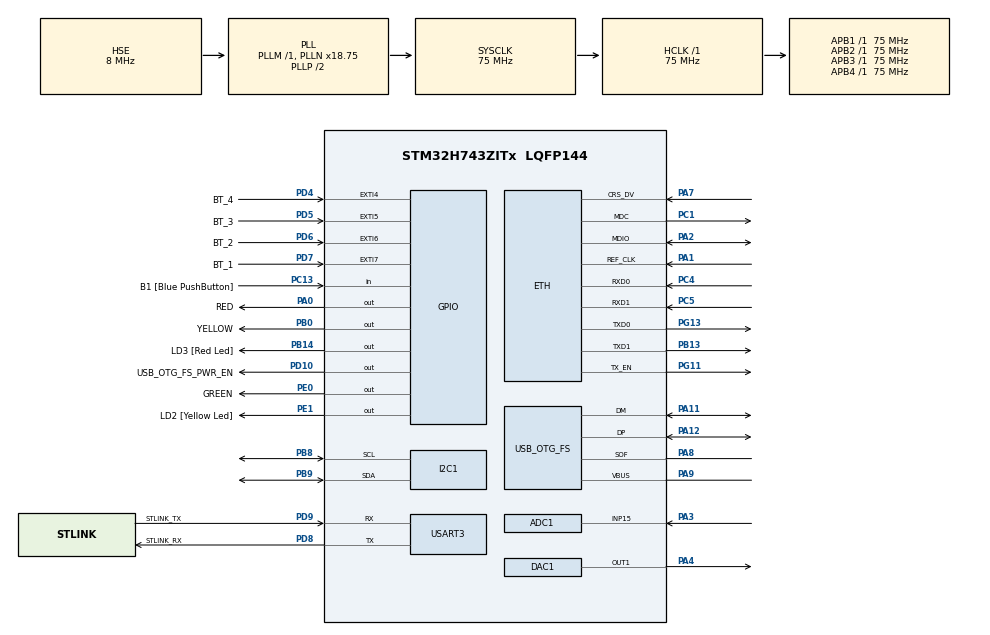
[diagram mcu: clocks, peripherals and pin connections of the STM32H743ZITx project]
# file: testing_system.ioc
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ADC1.Channel-0\#ChannelRegularConversion=ADC_CHANNEL_15
ADC1.ConversionDataManagement=ADC_CONVERSIONDATA_DMA_ONESHOT
ADC1.ExternalTrigConv=ADC_EXTERNALTRIG_T1_TRGO
ADC1.NbrOfConversionFlag=1
ADC1.OffsetNumber-0\#ChannelRegularConversion=ADC_OFFSET_NONE
ADC1.OffsetSignedSaturation-0\#ChannelRegularConversion=DISABLE
ADC1.Rank-0\#ChannelRegularConversion=1
ADC1.Resolution=ADC_RESOLUTION_12B
ADC1.SamplingTime-0\#ChannelRegularConversion=ADC_SAMPLETIME_1CYCLE_5
ADC1.master=1
DAC1.DAC_Channel-DAC_OUT1=DAC_CHANNEL_1
DAC1.DAC_Trigger-DAC_OUT1=DAC_TRIGGER_T1_TRGO
Dma.ADC1.0.Direction=DMA_PERIPH_TO_MEMORY
Dma.ADC1.0.EventEnable=DISABLE
Dma.ADC1.0.FIFOMode=DMA_FIFOMODE_DISABLE
Dma.ADC1.0.Instance=DMA1_Stream0
Dma.ADC1.0.MemDataAlignment=DMA_MDATAALIGN_HALFWORD
Dma.ADC1.0.MemInc=DMA_MINC_ENABLE
Dma.ADC1.0.Mode=DMA_NORMAL
Dma.ADC1.0.PeriphDataAlignment=DMA_PDATAALIGN_HALFWORD
Dma.ADC1.0.PeriphInc=DMA_PINC_DISABLE
Dma.ADC1.0.Polarity=HAL_DMAMUX_REQ_GEN_RISING
Dma.ADC1.0.Priority=DMA_PRIORITY_LOW
Dma.ADC1.0.RequestNumber=1
Dma.ADC1.0.SignalID=NONE
Dma.ADC1.0.SyncEnable=DISABLE
Dma.ADC1.0.SyncPolarity=HAL_DMAMUX_SYNC_NO_EVENT
Dma.ADC1.0.SyncRequestNumber=1
Dma.ADC1.0.SyncSignalID=NONE
Dma.DAC1_CH1.1.Direction=DMA_MEMORY_TO_PERIPH
Dma.DAC1_CH1.1.EventEnable=DISABLE
Dma.DAC1_CH1.1.FIFOMode=DMA_FIFOMODE_DISABLE
Dma.DAC1_CH1.1.Instance=DMA1_Stream1
Dma.DAC1_CH1.1.MemDataAlignment=DMA_MDATAALIGN_HALFWORD
Dma.DAC1_CH1.1.MemInc=DMA_MINC_ENABLE
Dma.DAC1_CH1.1.Mode=DMA_NORMAL
Dma.DAC1_CH1.1.PeriphDataAlignment=DMA_PDATAALIGN_HALFWORD
Dma.DAC1_CH1.1.PeriphInc=DMA_PINC_DISABLE
Dma.DAC1_CH1.1.Polarity=HAL_DMAMUX_REQ_GEN_RISING
Dma.DAC1_CH1.1.Priority=DMA_PRIORITY_LOW
Dma.DAC1_CH1.1.RequestNumber=1
Dma.DAC1_CH1.1.SignalID=NONE
Dma.DAC1_CH1.1.SyncEnable=DISABLE
Dma.DAC1_CH1.1.SyncPolarity=HAL_DMAMUX_SYNC_NO_EVENT
Dma.DAC1_CH1.1.SyncRequestNumber=1
Dma.DAC1_CH1.1.SyncSignalID=NONE
Dma.Request0=ADC1
Dma.Request1=DAC1_CH1
ETH.MediaInterface=HAL_ETH_RMII_MODE
I2C1.Timing=0x109093DC
Mcu.Family=STM32H7
Mcu.Name=STM32H743ZITx
Mcu.Package=LQFP144
NVIC.DMA1_Stream0_IRQn=true\:0\:0\:false\:false\:true\:false\:true
NVIC.DMA1_Stream1_IRQn=true\:0\:0\:false\:false\:true\:false\:true
NVIC.EXTI4_IRQn=true\:0\:0\:false\:false\:true\:true\:true
NVIC.EXTI9_5_IRQn=true\:0\:0\:false\:false\:true\:true\:true
NVIC.PriorityGroup=NVIC_PRIORITYGROUP_4
PA0.GPIO_Label=RED
PA0.Signal=GPIO_Output
PA1.Mode=RMII
PA1.Signal=ETH_REF_CLK
PA11.Mode=Device_Only
PA11.Signal=USB_OTG_FS_DM
PA12.Mode=Device_Only
PA12.Signal=USB_OTG_FS_DP
PA2.Mode=RMII
PA2.Signal=ETH_MDIO
PA3.Signal=ADCx_INP15
PA4.Signal=COMP_DAC11_group
PA7.Mode=RMII
PA7.Signal=ETH_CRS_DV
PA8.Mode=Activate_SOF_FS
PA8.Signal=USB_OTG_FS_SOF
PA9.Mode=Activate_VBUS
PA9.Signal=USB_OTG_FS_VBUS
PB0.GPIO_Label=YELLOW
PB0.Signal=GPIO_Output
PB13.Mode=RMII
PB13.Signal=ETH_TXD1
PB14.GPIO_Label=LD3 [Red Led]
PB14.Signal=GPIO_Output
PB8.Mode=I2C
PB8.Signal=I2C1_SCL
PB9.Mode=I2C
PB9.Signal=I2C1_SDA
PC1.Mode=RMII
PC1.Signal=ETH_MDC
PC13.GPIO_Label=B1 [Blue PushButton]
PC13.Signal=GPIO_Input
PC14-OSC32_IN\ (OSC32_IN).Mode=LSE-External-Oscillator
PC14-OSC32_IN\ (OSC32_IN).Signal=RCC_OSC32_IN
PC15-OSC32_OUT\ (OSC32_OUT).Mode=LSE-External-Oscillator
PC15-OSC32_OUT\ (OSC32_OUT).Signal=RCC_OSC32_OUT
PC4.Mode=RMII
PC4.Signal=ETH_RXD0
PC5.Mode=RMII
PC5.Signal=ETH_RXD1
PD10.GPIO_Label=USB_OTG_FS_PWR_EN
PD10.Signal=GPIO_Output
PD4.GPIO_Label=BT_4
PD4.GPIO_ModeDefaultEXTI=GPIO_MODE_IT_FALLING
PD4.Signal=GPXTI4
PD5.GPIO_Label=BT_3
PD5.GPIO_ModeDefaultEXTI=GPIO_MODE_IT_FALLING
PD5.Signal=GPXTI5
PD6.GPIO_Label=BT_2
PD6.GPIO_ModeDefaultEXTI=GPIO_MODE_IT_FALLING
PD6.Signal=GPXTI6
PD7.GPIO_Label=BT_1
PD7.GPIO_ModeDefaultEXTI=GPIO_MODE_IT_FALLING
PD7.Signal=GPXTI7
PD8.GPIO_Label=STLINK_RX
PD8.Mode=Asynchronous
PD8.Signal=USART3_TX
PD9.GPIO_Label=STLINK_TX
PD9.Mode=Asynchronous
PD9.Signal=USART3_RX
PE0.GPIO_Label=GREEN
PE0.Signal=GPIO_Output
PE1.GPIO_Label=LD2 [Yellow Led]
PE1.Signal=GPIO_Output
PG11.Mode=RMII
PG11.Signal=ETH_TX_EN
PG13.Mode=RMII
PG13.Signal=ETH_TXD0
PH0-OSC_IN\ (PH0).Mode=HSE-External-Clock-Source
PH0-OSC_IN\ (PH0).Signal=RCC_OSC_IN
PH1-OSC_OUT\ (PH1).Signal=RCC_OSC_OUT
ProjectManager.HeapSize=0x200
ProjectManager.StackSize=0x400
ProjectManager.TargetToolchain=STM32CubeIDE
RCC.ADCFreq_Value=37500000
RCC.APB1Freq_Value=75000000
RCC.APB2Freq_Value=75000000
RCC.APB3Freq_Value=75000000
RCC.APB4Freq_Value=75000000
RCC.CortexFreq_Value=75000000
RCC.DIVM1=1
RCC.DIVM2=1
RCC.DIVN1=18
RCC.DIVN2=18
RCC.DIVP2=4
RCC.DIVQ1=3
RCC.HCLKFreq_Value=75000000
RCC.HSE_VALUE=8000000
RCC.PLL2FRACN=6144
RCC.PLLFRACN=6144
RCC.PWR_Regulator_Voltage_Scale=PWR_REGULATOR_VOLTAGE_SCALE2
RCC.SYSCLKFreq_VALUE=75000000
RCC.SYSCLKSource=RCC_SYSCLKSOURCE_PLLCLK
RCC.USART234578CLockSelection=RCC_USART234578CLKSOURCE_HSI
RCC.USBFreq_Value=50000000
SH.ADCx_INP15.0=ADC1_INP15,IN15-Single-Ended
SH.COMP_DAC11_group.0=DAC1_OUT1,DAC_OUT1
TIM1.Period=7500-1
TIM1.TIM_MasterOutputTrigger=TIM_TRGO_UPDATE
USART3.VirtualMode-Asynchronous=VM_ASYNC
USB_OTG_FS.VirtualMode=Device_Only
VP_TIM1_VS_ClockSourceINT.Mode=Internal
board=NUCLEO-H743ZI2

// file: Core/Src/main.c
/* USER CODE BEGIN Header */
/**
  ******************************************************************************
  * @file           : main.c
  * @brief          : Main program body
  ******************************************************************************
  * @attention
  *
  * <h2><center>&copy; Copyright (c) 2021 STMicroelectronics.
  * All rights reserved.</center></h2>
  *
  * This software component is licensed by ST under BSD 3-Clause license,
  * the "License"; You may not use this file except in compliance with the
  * License. You may obtain a copy of the License at:
  *                        opensource.org/licenses/BSD-3-Clause
  *
  ******************************************************************************
  */
/* USER CODE END Header */
#include "main.h"
#include "string.h"

/* USER CODE BEGIN Includes */
#include "ssd1306.h"
#include "fonts.h"
/* USER CODE END Includes */

#if defined ( __ICCARM__ ) /*!< IAR Compiler */

#pragma location=0x30040000
ETH_DMADescTypeDef  DMARxDscrTab[ETH_RX_DESC_CNT]; /* Ethernet Rx DMA Descriptors */
#pragma location=0x30040060
ETH_DMADescTypeDef  DMATxDscrTab[ETH_TX_DESC_CNT]; /* Ethernet Tx DMA Descriptors */
#pragma location=0x30040200
uint8_t Rx_Buff[ETH_RX_DESC_CNT][ETH_MAX_PACKET_SIZE]; /* Ethernet Receive Buffers */

#elif defined ( __CC_ARM )  /* MDK ARM Compiler */

__attribute__((at(0x30040000))) ETH_DMADescTypeDef  DMARxDscrTab[ETH_RX_DESC_CNT]; /* Ethernet Rx DMA Descriptors */
__attribute__((at(0x30040060))) ETH_DMADescTypeDef  DMATxDscrTab[ETH_TX_DESC_CNT]; /* Ethernet Tx DMA Descriptors */
__attribute__((at(0x30040200))) uint8_t Rx_Buff[ETH_RX_DESC_CNT][ETH_MAX_PACKET_SIZE]; /* Ethernet Receive Buffer */

#elif defined ( __GNUC__ ) /* GNU Compiler */

ETH_DMADescTypeDef DMARxDscrTab[ETH_RX_DESC_CNT] __attribute__((section(".RxDecripSection"))); /* Ethernet Rx DMA Descriptors */
ETH_DMADescTypeDef DMATxDscrTab[ETH_TX_DESC_CNT] __attribute__((section(".TxDecripSection")));   /* Ethernet Tx DMA Descriptors */
uint8_t Rx_Buff[ETH_RX_DESC_CNT][ETH_MAX_PACKET_SIZE] __attribute__((section(".RxArraySection"))); /* Ethernet Receive Buffers */

#endif

ETH_TxPacketConfig TxConfig;
ADC_HandleTypeDef hadc1;
DMA_HandleTypeDef hdma_adc1;

DAC_HandleTypeDef hdac1;
DMA_HandleTypeDef hdma_dac1_ch1;

ETH_HandleTypeDef heth;

I2C_HandleTypeDef hi2c1;

TIM_HandleTypeDef htim1;

UART_HandleTypeDef huart3;

PCD_HandleTypeDef hpcd_USB_OTG_FS;

void SystemClock_Config(void);
static void MX_GPIO_Init(void);
static void MX_ETH_Init(void);
static void MX_USART3_UART_Init(void);
static void MX_DMA_Init(void);
static void MX_ADC1_Init(void);
static void MX_DAC1_Init(void);
static void MX_USB_OTG_FS_PCD_Init(void);
static void MX_TIM1_Init(void);
static void MX_I2C1_Init(void);

/* USER CODE BEGIN 0 */
#include <math.h>
#include <arm_math.h>
//#include <fft.h>
#include "const.h"
#include <stdio.h>
#include <chroma.h>
#include "knn.h"
#include <stdlib.h>
int16_t ADC_buff[ADC_BUF_SIZE];
//float32_t ADC_buff_complex[ADC_BUF_SIZE * 2];
//float32_t ADC_buff_mag[ADC_BUF_SIZE];
uint8_t record_done = 0;
//uint8_t play_done = 0;
uint8_t buttonState = 0;
//int16_t mag_print;
char *noteRecord;
int noteInd;

void preprocess(int16_t in_array[], float out_array[]) {
	float average = 0;
	for(int i = 0; i < ADC_BUF_SIZE; i++) {
		float val = (float) in_array[i];
		out_array[i] = val;
		average += val;
	}
	average /= ADC_BUF_SIZE;
	for(int i = 0; i < ADC_BUF_SIZE; i++) {
		out_array[i] -= average;
	}
}

float get_average_energy(float in_array[]) {
	float energy = 0;
	for(int i = 0; i < ADC_BUF_SIZE; i++) {
		energy += pow(in_array[i], 2.0);
	}
	energy /= ADC_BUF_SIZE;
	return energy;
}

float get_past_energy(float in_array[]) {
	float energy = 0;
	for(int i = 0; i < 2; i++) {
		energy += in_array[i];
	}
	energy /= 2;
	return energy;
}
/* USER CODE END 0 */

int main(void)
{

  /* MCU Configuration--------------------------------------------------------*/

  /* Reset of all peripherals, Initializes the Flash interface and the Systick. */
  HAL_Init();

  /* Configure the system clock */
  SystemClock_Config();

  /* Initialize all configured peripherals */
  MX_GPIO_Init();
  MX_ETH_Init();
  MX_USART3_UART_Init();
  MX_DMA_Init();
  MX_ADC1_Init();
  MX_DAC1_Init();
  MX_USB_OTG_FS_PCD_Init();
  MX_TIM1_Init();
  MX_I2C1_Init();
  /* USER CODE BEGIN 2 */
  if (HAL_ADCEx_Calibration_Start(&hadc1, ADC_CALIB_OFFSET, ADC_SINGLE_ENDED) != HAL_OK) {
	  Error_Handler();
  }
  HAL_TIM_Base_Start(&htim1);
  //Allocate Array to Store trained Data
  const int trainDataSize = TRAINDATASIZE;
  ClassifiedPoint *trainData = malloc(sizeof(ClassifiedPoint) * trainDataSize);
  //Read the Trained Data from CSV- File and Store it into TrainData Array
  readTrainingData(trainDataSize, trainData);

  float processed_array[ADC_BUF_SIZE] = {0};
  float octaves[OCTAVE_SIZE] = {0};
  float chroma[CHROMA_SIZE] = {0};
  float curr_fft[FFT_SIZE] = {0};
  float normalized_octaves[OCTAVE_SIZE] = {0};
  float normalized_chroma[CHROMA_SIZE] = {0};
  float ml_vector[CHROMA_SIZE + OCTAVE_SIZE] = {0};

  if (ssd1306_Init(&hi2c1) != 0) {
   Error_Handler();
  }
  HAL_Delay(1000);

  ssd1306_Fill(Black);
  ssd1306_UpdateScreen(&hi2c1);

  float energyBuff[2] = {0};

  for(int i = 0; i < 2; i++) {
	  if (HAL_ADC_Start_DMA(&hadc1, (uint32_t *) &ADC_buff, ADC_BUF_SIZE) != HAL_OK) {
		Error_Handler();
	  }
	  while(1) {
		if(record_done == 1) {
			record_done = 0;
			break;
		}
	  }

	  preprocess(ADC_buff, processed_array);
	  float average_energy = get_average_energy(processed_array);
	  energyBuff[i] = average_energy;
  }

  float energyThresh = get_past_energy(energyBuff);

  int energyReadingCount = 0;

  HAL_Delay(1000);
  /* USER CODE END 2 */

  /* Infinite loop */
  while (1)
  {

    /* USER CODE BEGIN 3 */
	if (buttonState == 1) {
		memset(processed_array, 0, sizeof(processed_array));
		memset(octaves, 0, sizeof(octaves));
		memset(chroma, 0, sizeof(chroma));
		memset(curr_fft, 0, sizeof(curr_fft));
		memset(normalized_octaves, 0, sizeof(normalized_octaves));
		memset(normalized_chroma, 0, sizeof(normalized_chroma));
		memset(ml_vector, 0, sizeof(ml_vector));

		if (HAL_ADC_Start_DMA(&hadc1, (uint32_t *) &ADC_buff, ADC_BUF_SIZE) != HAL_OK) {
		  Error_Handler();
		}
		while(1) {
		  if(record_done == 1) {
			  record_done = 0;
			  break;
		  }
		}

		preprocess(ADC_buff, processed_array);
		float average_energy = get_average_energy(processed_array);

		if (average_energy < ENERGY_THRESH) {
			energyBuff[energyReadingCount] = average_energy;
			if(energyReadingCount == 1) {
				energyReadingCount = 0;
			}
			else {
				energyReadingCount++;
			}
		}

		energyThresh = get_past_energy(energyBuff);

		if (average_energy < energyThresh - 1000) {
			ssd1306_Fill(Black);
			ssd1306_UpdateScreen(&hi2c1);
			if (noteInd % 100 == 0) {
				noteRecord = (char *) realloc(noteRecord, (noteInd + 100) * 6 * sizeof(char));
			}
			strcat(noteRecord, "     ");
			noteInd++;
			continue;
		}

		//get_chroma(processed_array, chroma, octaves);

		for(int i = 0; i < 5; i += HOP_LENGTH) {
			memcpy(curr_fft, processed_array + i, FFT_SIZE * sizeof(float));
			get_chroma(curr_fft, chroma, octaves);
		}

		normalize_chroma(chroma, octaves, normalized_chroma, normalized_octaves);

		memcpy(ml_vector, normalized_chroma, CHROMA_SIZE * sizeof(float));
		memcpy(ml_vector + CHROMA_SIZE, normalized_octaves, OCTAVE_SIZE * sizeof(float));

		char *pitchClassification = getTestClass(ml_vector, trainData);//, 1);
		if (noteInd % 100 == 0) {
			noteRecord = (char *) realloc(noteRecord, (noteInd + 100) * 6 * sizeof(char));
		}
		strcat(noteRecord, pitchClassification);
		noteInd++;

		ssd1306_SetCursor(0, 32);
		ssd1306_WriteString(pitchClassification, Font_11x18, White);

		// Copy all data from local screenbuffer to the screen
		ssd1306_UpdateScreen(&hi2c1);
		//HAL_Delay(1);
	}
  }
  /* USER CODE END 3 */
}

void SystemClock_Config(void)
{
  RCC_OscInitTypeDef RCC_OscInitStruct = {0};
  RCC_ClkInitTypeDef RCC_ClkInitStruct = {0};

  /** Supply configuration update enable
  */
  HAL_PWREx_ConfigSupply(PWR_LDO_SUPPLY);
  /** Configure the main internal regulator output voltage
  */
  __HAL_PWR_VOLTAGESCALING_CONFIG(PWR_REGULATOR_VOLTAGE_SCALE2);

  while(!__HAL_PWR_GET_FLAG(PWR_FLAG_VOSRDY)) {}
  /** Macro to configure the PLL clock source
  */
  __HAL_RCC_PLL_PLLSOURCE_CONFIG(RCC_PLLSOURCE_HSE);
  /** Initializes the RCC Oscillators according to the specified parameters
  * in the RCC_OscInitTypeDef structure.
  */
  RCC_OscInitStruct.OscillatorType = RCC_OSCILLATORTYPE_HSI|RCC_OSCILLATORTYPE_HSE;
  RCC_OscInitStruct.HSEState = RCC_HSE_BYPASS;
  RCC_OscInitStruct.HSIState = RCC_HSI_DIV1;
  RCC_OscInitStruct.HSICalibrationValue = RCC_HSICALIBRATION_DEFAULT;
  RCC_OscInitStruct.PLL.PLLState = RCC_PLL_ON;
  RCC_OscInitStruct.PLL.PLLSource = RCC_PLLSOURCE_HSE;
  RCC_OscInitStruct.PLL.PLLM = 1;
  RCC_OscInitStruct.PLL.PLLN = 18;
  RCC_OscInitStruct.PLL.PLLP = 2;
  RCC_OscInitStruct.PLL.PLLQ = 3;
  RCC_OscInitStruct.PLL.PLLR = 2;
  RCC_OscInitStruct.PLL.PLLRGE = RCC_PLL1VCIRANGE_3;
  RCC_OscInitStruct.PLL.PLLVCOSEL = RCC_PLL1VCOMEDIUM;
  RCC_OscInitStruct.PLL.PLLFRACN = 6144;
  if (HAL_RCC_OscConfig(&RCC_OscInitStruct) != HAL_OK)
  {
    Error_Handler();
  }
  /** Initializes the CPU, AHB and APB buses clocks
  */
  RCC_ClkInitStruct.ClockType = RCC_CLOCKTYPE_HCLK|RCC_CLOCKTYPE_SYSCLK
                              |RCC_CLOCKTYPE_PCLK1|RCC_CLOCKTYPE_PCLK2
                              |RCC_CLOCKTYPE_D3PCLK1|RCC_CLOCKTYPE_D1PCLK1;
  RCC_ClkInitStruct.SYSCLKSource = RCC_SYSCLKSOURCE_PLLCLK;
  RCC_ClkInitStruct.SYSCLKDivider = RCC_SYSCLK_DIV1;
  RCC_ClkInitStruct.AHBCLKDivider = RCC_HCLK_DIV1;
  RCC_ClkInitStruct.APB3CLKDivider = RCC_APB3_DIV1;
  RCC_ClkInitStruct.APB1CLKDivider = RCC_APB1_DIV1;
  RCC_ClkInitStruct.APB2CLKDivider = RCC_APB2_DIV1;
  RCC_ClkInitStruct.APB4CLKDivider = RCC_APB4_DIV1;

  if (HAL_RCC_ClockConfig(&RCC_ClkInitStruct, FLASH_LATENCY_1) != HAL_OK)
  {
    Error_Handler();
  }
}

static void MX_ADC1_Init(void)
{

  ADC_MultiModeTypeDef multimode = {0};
  ADC_ChannelConfTypeDef sConfig = {0};

  /** Common config
  */
  hadc1.Instance = ADC1;
  hadc1.Init.ClockPrescaler = ADC_CLOCK_ASYNC_DIV2;
  hadc1.Init.Resolution = ADC_RESOLUTION_12B;
  hadc1.Init.ScanConvMode = ADC_SCAN_DISABLE;
  hadc1.Init.EOCSelection = ADC_EOC_SINGLE_CONV;
  hadc1.Init.LowPowerAutoWait = DISABLE;
  hadc1.Init.ContinuousConvMode = DISABLE;
  hadc1.Init.NbrOfConversion = 1;
  hadc1.Init.DiscontinuousConvMode = DISABLE;
  hadc1.Init.ExternalTrigConv = ADC_EXTERNALTRIG_T1_TRGO;
  hadc1.Init.ExternalTrigConvEdge = ADC_EXTERNALTRIGCONVEDGE_RISING;
  hadc1.Init.ConversionDataManagement = ADC_CONVERSIONDATA_DMA_ONESHOT;
  hadc1.Init.Overrun = ADC_OVR_DATA_PRESERVED;
  hadc1.Init.LeftBitShift = ADC_LEFTBITSHIFT_NONE;
  hadc1.Init.OversamplingMode = DISABLE;
  if (HAL_ADC_Init(&hadc1) != HAL_OK)
  {
    Error_Handler();
  }
  /** Configure the ADC multi-mode
  */
  multimode.Mode = ADC_MODE_INDEPENDENT;
  if (HAL_ADCEx_MultiModeConfigChannel(&hadc1, &multimode) != HAL_OK)
  {
    Error_Handler();
  }
  /** Configure Regular Channel
  */
  sConfig.Channel = ADC_CHANNEL_15;
  sConfig.Rank = ADC_REGULAR_RANK_1;
  sConfig.SamplingTime = ADC_SAMPLETIME_1CYCLE_5;
  sConfig.SingleDiff = ADC_SINGLE_ENDED;
  sConfig.OffsetNumber = ADC_OFFSET_NONE;
  sConfig.Offset = 0;
  sConfig.OffsetSignedSaturation = DISABLE;
  if (HAL_ADC_ConfigChannel(&hadc1, &sConfig) != HAL_OK)
  {
    Error_Handler();
  }

}

static void MX_DAC1_Init(void)
{

  DAC_ChannelConfTypeDef sConfig = {0};

  /** DAC Initialization
  */
  hdac1.Instance = DAC1;
  if (HAL_DAC_Init(&hdac1) != HAL_OK)
  {
    Error_Handler();
  }
  /** DAC channel OUT1 config
  */
  sConfig.DAC_SampleAndHold = DAC_SAMPLEANDHOLD_DISABLE;
  sConfig.DAC_Trigger = DAC_TRIGGER_T1_TRGO;
  sConfig.DAC_OutputBuffer = DAC_OUTPUTBUFFER_ENABLE;
  sConfig.DAC_ConnectOnChipPeripheral = DAC_CHIPCONNECT_DISABLE;
  sConfig.DAC_UserTrimming = DAC_TRIMMING_FACTORY;
  if (HAL_DAC_ConfigChannel(&hdac1, &sConfig, DAC_CHANNEL_1) != HAL_OK)
  {
    Error_Handler();
  }

}

static void MX_ETH_Init(void)
{

   static uint8_t MACAddr[6];

  heth.Instance = ETH;
  MACAddr[0] = 0x00;
  MACAddr[1] = 0x80;
  MACAddr[2] = 0xE1;
  MACAddr[3] = 0x00;
  MACAddr[4] = 0x00;
  MACAddr[5] = 0x00;
  heth.Init.MACAddr = &MACAddr[0];
  heth.Init.MediaInterface = HAL_ETH_RMII_MODE;
  heth.Init.TxDesc = DMATxDscrTab;
  heth.Init.RxDesc = DMARxDscrTab;
  heth.Init.RxBuffLen = 1524;

  if (HAL_ETH_Init(&heth) != HAL_OK)
  {
    Error_Handler();
  }

  memset(&TxConfig, 0 , sizeof(ETH_TxPacketConfig));
  TxConfig.Attributes = ETH_TX_PACKETS_FEATURES_CSUM | ETH_TX_PACKETS_FEATURES_CRCPAD;
  TxConfig.ChecksumCtrl = ETH_CHECKSUM_IPHDR_PAYLOAD_INSERT_PHDR_CALC;
  TxConfig.CRCPadCtrl = ETH_CRC_PAD_INSERT;

}

static void MX_I2C1_Init(void)
{

  hi2c1.Instance = I2C1;
  hi2c1.Init.Timing = 0x109093DC;
  hi2c1.Init.OwnAddress1 = 0;
  hi2c1.Init.AddressingMode = I2C_ADDRESSINGMODE_7BIT;
  hi2c1.Init.DualAddressMode = I2C_DUALADDRESS_DISABLE;
  hi2c1.Init.OwnAddress2 = 0;
  hi2c1.Init.OwnAddress2Masks = I2C_OA2_NOMASK;
  hi2c1.Init.GeneralCallMode = I2C_GENERALCALL_DISABLE;
  hi2c1.Init.NoStretchMode = I2C_NOSTRETCH_DISABLE;
  if (HAL_I2C_Init(&hi2c1) != HAL_OK)
  {
    Error_Handler();
  }
  /** Configure Analogue filter
  */
  if (HAL_I2CEx_ConfigAnalogFilter(&hi2c1, I2C_ANALOGFILTER_ENABLE) != HAL_OK)
  {
    Error_Handler();
  }
  /** Configure Digital filter
  */
  if (HAL_I2CEx_ConfigDigitalFilter(&hi2c1, 0) != HAL_OK)
  {
    Error_Handler();
  }

}

static void MX_TIM1_Init(void)
{

  TIM_ClockConfigTypeDef sClockSourceConfig = {0};
  TIM_MasterConfigTypeDef sMasterConfig = {0};

  htim1.Instance = TIM1;
  htim1.Init.Prescaler = 0;
  htim1.Init.CounterMode = TIM_COUNTERMODE_UP;
  htim1.Init.Period = 7500-1;
  htim1.Init.ClockDivision = TIM_CLOCKDIVISION_DIV1;
  htim1.Init.RepetitionCounter = 0;
  htim1.Init.AutoReloadPreload = TIM_AUTORELOAD_PRELOAD_DISABLE;
  if (HAL_TIM_Base_Init(&htim1) != HAL_OK)
  {
    Error_Handler();
  }
  sClockSourceConfig.ClockSource = TIM_CLOCKSOURCE_INTERNAL;
  if (HAL_TIM_ConfigClockSource(&htim1, &sClockSourceConfig) != HAL_OK)
  {
    Error_Handler();
  }
  sMasterConfig.MasterOutputTrigger = TIM_TRGO_UPDATE;
  sMasterConfig.MasterOutputTrigger2 = TIM_TRGO2_RESET;
  sMasterConfig.MasterSlaveMode = TIM_MASTERSLAVEMODE_DISABLE;
  if (HAL_TIMEx_MasterConfigSynchronization(&htim1, &sMasterConfig) != HAL_OK)
  {
    Error_Handler();
  }

}

static void MX_USART3_UART_Init(void)
{

  huart3.Instance = USART3;
  huart3.Init.BaudRate = 115200;
  huart3.Init.WordLength = UART_WORDLENGTH_8B;
  huart3.Init.StopBits = UART_STOPBITS_1;
  huart3.Init.Parity = UART_PARITY_NONE;
  huart3.Init.Mode = UART_MODE_TX_RX;
  huart3.Init.HwFlowCtl = UART_HWCONTROL_NONE;
  huart3.Init.OverSampling = UART_OVERSAMPLING_16;
  huart3.Init.OneBitSampling = UART_ONE_BIT_SAMPLE_DISABLE;
  huart3.Init.ClockPrescaler = UART_PRESCALER_DIV1;
  huart3.AdvancedInit.AdvFeatureInit = UART_ADVFEATURE_NO_INIT;
  if (HAL_UART_Init(&huart3) != HAL_OK)
  {
    Error_Handler();
  }
  if (HAL_UARTEx_SetTxFifoThreshold(&huart3, UART_TXFIFO_THRESHOLD_1_8) != HAL_OK)
  {
    Error_Handler();
  }
  if (HAL_UARTEx_SetRxFifoThreshold(&huart3, UART_RXFIFO_THRESHOLD_1_8) != HAL_OK)
  {
    Error_Handler();
  }
  if (HAL_UARTEx_DisableFifoMode(&huart3) != HAL_OK)
  {
    Error_Handler();
  }

}

static void MX_USB_OTG_FS_PCD_Init(void)
{

  hpcd_USB_OTG_FS.Instance = USB_OTG_FS;
  hpcd_USB_OTG_FS.Init.dev_endpoints = 9;
  hpcd_USB_OTG_FS.Init.speed = PCD_SPEED_FULL;
  hpcd_USB_OTG_FS.Init.dma_enable = DISABLE;
  hpcd_USB_OTG_FS.Init.phy_itface = PCD_PHY_EMBEDDED;
  hpcd_USB_OTG_FS.Init.Sof_enable = ENABLE;
  hpcd_USB_OTG_FS.Init.low_power_enable = DISABLE;
  hpcd_USB_OTG_FS.Init.lpm_enable = DISABLE;
  hpcd_USB_OTG_FS.Init.battery_charging_enable = ENABLE;
  hpcd_USB_OTG_FS.Init.vbus_sensing_enable = ENABLE;
  hpcd_USB_OTG_FS.Init.use_dedicated_ep1 = DISABLE;
  if (HAL_PCD_Init(&hpcd_USB_OTG_FS) != HAL_OK)
  {
    Error_Handler();
  }

}

static void MX_DMA_Init(void)
{

  /* DMA controller clock enable */
  __HAL_RCC_DMA1_CLK_ENABLE();

  /* DMA interrupt init */
  /* DMA1_Stream0_IRQn interrupt configuration */
  HAL_NVIC_SetPriority(DMA1_Stream0_IRQn, 0, 0);
  HAL_NVIC_EnableIRQ(DMA1_Stream0_IRQn);
  /* DMA1_Stream1_IRQn interrupt configuration */
  HAL_NVIC_SetPriority(DMA1_Stream1_IRQn, 0, 0);
  HAL_NVIC_EnableIRQ(DMA1_Stream1_IRQn);

}

static void MX_GPIO_Init(void)
{
  GPIO_InitTypeDef GPIO_InitStruct = {0};

  /* GPIO Ports Clock Enable */
  __HAL_RCC_GPIOC_CLK_ENABLE();
  __HAL_RCC_GPIOH_CLK_ENABLE();
  __HAL_RCC_GPIOA_CLK_ENABLE();
  __HAL_RCC_GPIOB_CLK_ENABLE();
  __HAL_RCC_GPIOD_CLK_ENABLE();
  __HAL_RCC_GPIOG_CLK_ENABLE();
  __HAL_RCC_GPIOE_CLK_ENABLE();

  /*Configure GPIO pin Output Level */
  HAL_GPIO_WritePin(RED_GPIO_Port, RED_Pin, GPIO_PIN_RESET);

  /*Configure GPIO pin Output Level */
  HAL_GPIO_WritePin(GPIOB, YELLOW_Pin|LD3_Pin, GPIO_PIN_RESET);

  /*Configure GPIO pin Output Level */
  HAL_GPIO_WritePin(USB_OTG_FS_PWR_EN_GPIO_Port, USB_OTG_FS_PWR_EN_Pin, GPIO_PIN_RESET);

  /*Configure GPIO pin Output Level */
  HAL_GPIO_WritePin(GPIOE, GREEN_Pin|LD2_Pin, GPIO_PIN_RESET);

  /*Configure GPIO pin : B1_Pin */
  GPIO_InitStruct.Pin = B1_Pin;
  GPIO_InitStruct.Mode = GPIO_MODE_INPUT;
  GPIO_InitStruct.Pull = GPIO_NOPULL;
  HAL_GPIO_Init(B1_GPIO_Port, &GPIO_InitStruct);

  /*Configure GPIO pin : RED_Pin */
  GPIO_InitStruct.Pin = RED_Pin;
  GPIO_InitStruct.Mode = GPIO_MODE_OUTPUT_PP;
  GPIO_InitStruct.Pull = GPIO_NOPULL;
  GPIO_InitStruct.Speed = GPIO_SPEED_FREQ_LOW;
  HAL_GPIO_Init(RED_GPIO_Port, &GPIO_InitStruct);

  /*Configure GPIO pins : YELLOW_Pin LD3_Pin */
  GPIO_InitStruct.Pin = YELLOW_Pin|LD3_Pin;
  GPIO_InitStruct.Mode = GPIO_MODE_OUTPUT_PP;
  GPIO_InitStruct.Pull = GPIO_NOPULL;
  GPIO_InitStruct.Speed = GPIO_SPEED_FREQ_LOW;
  HAL_GPIO_Init(GPIOB, &GPIO_InitStruct);

  /*Configure GPIO pin : USB_OTG_FS_PWR_EN_Pin */
  GPIO_InitStruct.Pin = USB_OTG_FS_PWR_EN_Pin;
  GPIO_InitStruct.Mode = GPIO_MODE_OUTPUT_PP;
  GPIO_InitStruct.Pull = GPIO_NOPULL;
  GPIO_InitStruct.Speed = GPIO_SPEED_FREQ_LOW;
  HAL_GPIO_Init(USB_OTG_FS_PWR_EN_GPIO_Port, &GPIO_InitStruct);

  /*Configure GPIO pins : BT_4_Pin BT_3_Pin BT_2_Pin BT_1_Pin */
  GPIO_InitStruct.Pin = BT_4_Pin|BT_3_Pin|BT_2_Pin|BT_1_Pin;
  GPIO_InitStruct.Mode = GPIO_MODE_IT_FALLING;
  GPIO_InitStruct.Pull = GPIO_NOPULL;
  HAL_GPIO_Init(GPIOD, &GPIO_InitStruct);

  /*Configure GPIO pins : GREEN_Pin LD2_Pin */
  GPIO_InitStruct.Pin = GREEN_Pin|LD2_Pin;
  GPIO_InitStruct.Mode = GPIO_MODE_OUTPUT_PP;
  GPIO_InitStruct.Pull = GPIO_NOPULL;
  GPIO_InitStruct.Speed = GPIO_SPEED_FREQ_LOW;
  HAL_GPIO_Init(GPIOE, &GPIO_InitStruct);

  /* EXTI interrupt init*/
  HAL_NVIC_SetPriority(EXTI4_IRQn, 0, 0);
  HAL_NVIC_EnableIRQ(EXTI4_IRQn);

  HAL_NVIC_SetPriority(EXTI9_5_IRQn, 0, 0);
  HAL_NVIC_EnableIRQ(EXTI9_5_IRQn);

}

/* USER CODE BEGIN 4 */
void HAL_ADC_ConvCpltCallback(ADC_HandleTypeDef *hadc) {
	if (HAL_ADC_Stop_DMA(&hadc1) != HAL_OK) {
		Error_Handler();
	}
	record_done = 1;
}

/*
void HAL_DAC_ConvCpltCallbackCh1(DAC_HandleTypeDef *hdac) {
	play_done = 1;
}
*/

int _write(int file, char *ptr, int len) {
	int i = 0;
	for (i = 0; i < len; i++) {
		ITM_SendChar((*ptr++));
	}
	return len;
}

void HAL_GPIO_EXTI_Callback(uint16_t GPIO_Pin) {
	if (GPIO_Pin == BT_1_Pin && buttonState == 0) {
		buttonState = 1;
		noteRecord = (char *) malloc(100 * 6 * sizeof(char));
		strcpy(noteRecord, "");
		noteInd = 0;
	}
	else if (GPIO_Pin == BT_1_Pin && buttonState == 1) {
		buttonState = 0;
		ssd1306_Fill(Black);
	    ssd1306_UpdateScreen(&hi2c1);
		char *buffer = (char *) malloc(6 * sizeof(char));
		buffer[5] = '\0';
		for(int i = 0; i < noteInd; i++) {
			memcpy(buffer, noteRecord + (i * 5), 5 * sizeof(char));
			//strcpy(buffer, *(noteRecord + (3 * i)));
			printf("%s,", buffer);
		}
		printf("\n");
		free(buffer);
		free(noteRecord);
	}
	else if (GPIO_Pin == BT_2_Pin) {
		buttonState = 2;
	}
	else if (GPIO_Pin == BT_3_Pin) {
		buttonState = 3;
	}
	else if (GPIO_Pin == BT_4_Pin) {
		buttonState = 4;
	}
}

/* USER CODE END 4 */

void Error_Handler(void)
{
  /* USER CODE BEGIN Error_Handler_Debug */
  /* User can add his own implementation to report the HAL error return state */
  HAL_GPIO_WritePin(GPIOB, LD3_Pin, GPIO_PIN_SET);
  /* USER CODE END Error_Handler_Debug */
}

/************************ (C) COPYRIGHT STMicroelectronics *****END OF FILE****/
